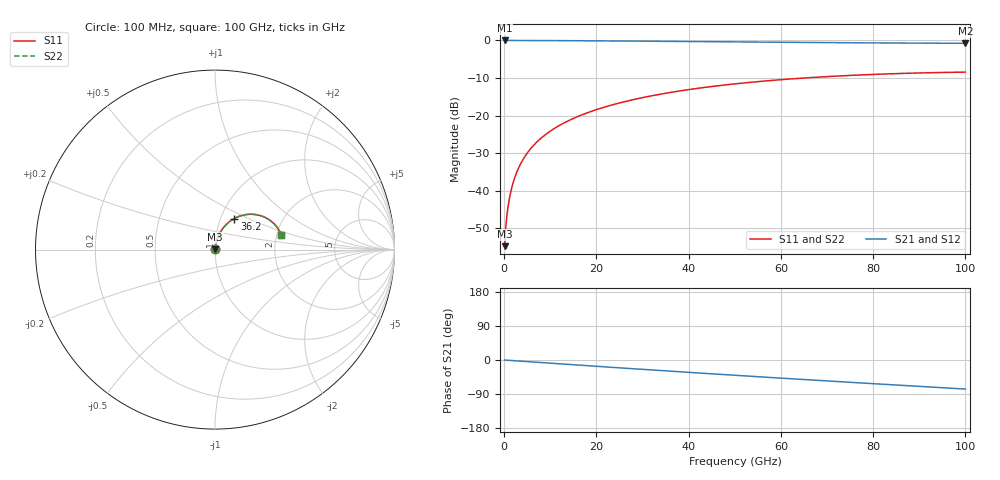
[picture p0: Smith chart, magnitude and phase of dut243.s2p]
! Touchstone file exported from HFSS 2026.1.0
!  File:  C:/ffzhzh/LocalFiles/Ansys_Project_Files/temp_train_RDL_243_1783501380_31944.aedt
!  Generated:  05:04:05 PM Jul  8, 2026
!  Design:  RDL
!  Project:  temp_train_RDL_243_1783501380_31944
! Variables:
!  h_bsmrdl = 2um
!  h_ox = 20um
!  h_rdl = 5um
!  h_sub = 80um
!  h_tmrdl = 2.44um
!  h_tsv = 80um
!  h_via = 3um
!  l_bsmrdl = 300um
!  l_sub = 638.89um
!  l_tmrdl = 238.89um
!  m_sub = 200um
!  pitch = 40.9um
!  r_tsv = 6um
!  s_tmrdl = 10um
!  w_bsmrdl = 18um
!  w_sub = 500um
!  w_tmrdl = 26.8um
!  x_tsv_center1 = 252.29um
!  x_tsv_center2 = 570.29um
!  x_tsv_center3 = 835.98um
!  x_tsv_center4 = 1153.98um
!  x_tsv_center5 = 1419.67um
!  x_tsv_center6 = 1737.67um
# GHz S MA R 50.000000
! Terminal data exported
! Port[1] = TM_RDL1_1_T1
! Port[2] = TM_RDL1_1_T2
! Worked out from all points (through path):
!   1000 points, 100 MHz to 100 GHz, reference 50 ohm
!   highest |S21| = -0.01 dB at 100 MHz (marker M1); lowest = -0.8 dB at 100 GHz (marker M2)
!   group delay of S21, straight-line fit = 2.12 ps
!   lowest |S11| = -54.8 dB at 100 MHz (marker M3), VSWR 1.00, Z = 50.2 + j0.0779 ohm
!   |S11| at or under -10 dB: start of sweep to 65.19 GHz
!   |S22| runs from -54.8 to -8.4 dB; largest |S21 - S12| = 4.4e-15
!   S11 on the Smith chart (normalised r, x): 100 MHz: 1.00, +0.00; 36.2 GHz: 1.16, +0.42; 100 GHz: 2.12, +0.40
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0.1  0.001822 25.2  0.9984 -0.1  0.9984 -0.1  0.001822 25.2
! Gamma 0 0 0 0
! Port Impedance 50 0 50 0
0.4  0.003481 56.3  0.9981 -0.4  0.9981 -0.4  0.003481 56.3
0.8  0.005837 67.4  0.9978 -0.7  0.9978 -0.7  0.005837 67.4
1  0.007015 70.4  0.9977 -0.9  0.9977 -0.9  0.007015 70.4
1.3  0.008804 73.6  0.9976 -1.1  0.9976 -1.1  0.008804 73.6
1.7  0.01122 76.2  0.9975 -1.5  0.9975 -1.5  0.01122 76.2
2.3  0.0149 78.4  0.9974 -2.0  0.9974 -2.0  0.0149 78.4
2.9  0.0186 79.6  0.9973 -2.5  0.9973 -2.5  0.0186 79.6
3.6  0.02293 80.3  0.9971 -3.1  0.9971 -3.1  0.02293 80.3
4.4  0.02787 80.5  0.9968 -3.7  0.9968 -3.7  0.02787 80.5
5.4  0.03403 80.5  0.9965 -4.6  0.9965 -4.6  0.03403 80.5
6.6  0.0414 80.1  0.996 -5.6  0.996 -5.6  0.0414 80.1
9.3  0.0578 78.5  0.9946 -7.8  0.9946 -7.8  0.0578 78.5
12.7  0.07801 76.1  0.9925 -10.7  0.9925 -10.7  0.07801 76.1
16.8  0.1017 73.0  0.9895 -14.0  0.9895 -14.0  0.1017 73.0
24.2  0.1427 67.3  0.9832 -20.0  0.9832 -20.0  0.1427 67.3
33.4  0.19 60.3  0.9741 -27.4  0.9741 -27.4  0.19 60.3
36.2  0.2036 58.2  0.9711 -29.6  0.9711 -29.6  0.2036 58.2
50.1  0.2642 47.8  0.9556 -40.4  0.9556 -40.4  0.2642 47.8
66.7  0.3206 35.6  0.9376 -52.8  0.9376 -52.8  0.3206 35.6
83.4  0.3588 23.8  0.9233 -64.9  0.9233 -64.9  0.3588 23.8
100  0.3781 12.2  0.9152 -76.7  0.9152 -76.7  0.3781 12.3
